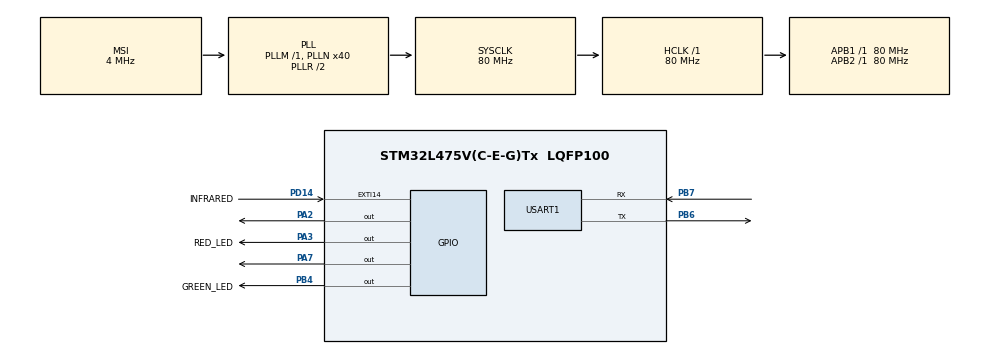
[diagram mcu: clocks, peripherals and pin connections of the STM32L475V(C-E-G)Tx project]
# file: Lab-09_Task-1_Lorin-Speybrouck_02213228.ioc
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Mcu.Family=STM32L4
Mcu.Name=STM32L475V(C-E-G)Tx
Mcu.Package=LQFP100
NVIC.EXTI15_10_IRQn=true\:0\:0\:false\:false\:true\:true\:true\:true
NVIC.PriorityGroup=NVIC_PRIORITYGROUP_4
PA2.GPIO_Speed=GPIO_SPEED_FREQ_HIGH
PA2.PinState=GPIO_PIN_SET
PA2.Signal=GPIO_Output
PA3.GPIO_Label=RED_LED
PA3.PinState=GPIO_PIN_SET
PA3.Signal=GPIO_Output
PA7.GPIO_Speed=GPIO_SPEED_FREQ_HIGH
PA7.Signal=GPIO_Output
PB4\ (NJTRST).GPIO_Label=GREEN_LED
PB4\ (NJTRST).Signal=GPIO_Output
PB6.Mode=Asynchronous
PB6.Signal=USART1_TX
PB7.Mode=Asynchronous
PB7.Signal=USART1_RX
PD14.GPIO_Label=INFRARED
PD14.GPIO_ModeDefaultEXTI=GPIO_MODE_IT_RISING_FALLING
PD14.Signal=GPXTI14
ProjectManager.HeapSize=0x200
ProjectManager.StackSize=0x400
ProjectManager.TargetToolchain=STM32CubeIDE
RCC.ADCFreq_Value=48000000
RCC.AHBFreq_Value=80000000
RCC.APB1Freq_Value=80000000
RCC.APB1TimFreq_Value=80000000
RCC.APB2Freq_Value=80000000
RCC.APB2TimFreq_Value=80000000
RCC.CortexFreq_Value=80000000
RCC.HCLKFreq_Value=80000000
RCC.HSE_VALUE=8000000
RCC.HSI_VALUE=16000000
RCC.LPTIM1CLockSelection=RCC_LPTIM1CLKSOURCE_LSE
RCC.LSE_VALUE=32768
RCC.MSI_VALUE=4000000
RCC.PLLN=40
RCC.PLLSAI1N=24
RCC.SYSCLKFreq_VALUE=80000000
RCC.SYSCLKSource=RCC_SYSCLKSOURCE_PLLCLK
RCC.USBFreq_Value=48000000
RCC.VCOOutputFreq_Value=160000000
TIM2.Period=100000
TIM2.Prescaler=80
USART1.VirtualMode-Asynchronous=VM_ASYNC
VP_TIM2_VS_ClockSourceINT.Mode=Internal
board=B-L475E-IOT01A2

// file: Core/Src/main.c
/* USER CODE BEGIN Header */
/**
 ******************************************************************************
 * @file           : main.c
 * @brief          : Main program body
 ******************************************************************************
 * @attention
 *
 * Copyright (c) 2024 STMicroelectronics.
 * All rights reserved.
 *
 * This software is licensed under terms that can be found in the LICENSE file
 * in the root directory of this software component.
 * If no LICENSE file comes with this software, it is provided AS-IS.
 *
 ******************************************************************************
 */
/* USER CODE END Header */
#include "main.h"

/* USER CODE BEGIN Includes */
#include "stdio.h"
#include "string.h"
/* USER CODE END Includes */

TIM_HandleTypeDef htim2;

UART_HandleTypeDef huart1;

/* USER CODE BEGIN PV */
int infrared_state;
uint32_t infrared_code;

const uint8_t digitToSegment[] = {
// XGFEDCBA
		0b00111111,// 0
		0b00000110,    // 1
		0b01011011,    // 2
		0b01001111,    // 3
		0b01100110,    // 4
		0b01101101,    // 5
		0b01111101,    // 6
		0b00000111,    // 7
		0b01111111,    // 8
		0b01101111,    // 9
		0b01110111,    // A
		0b01111100,    // b
		0b00111001,    // C
		0b01011110,    // d
		0b01111001,    // E
		0b01110001     // F
		};
/* USER CODE END PV */

void SystemClock_Config(void);
static void MX_GPIO_Init(void);
static void MX_USART1_UART_Init(void);
static void MX_TIM2_Init(void);

/* USER CODE BEGIN 0 */
void Display_CLK(uint8_t level) {
	HAL_GPIO_WritePin(GPIOA, GPIO_PIN_2, level);
	//HAL_Delay(1);
}

void Display_DIO(uint8_t level) {
	HAL_GPIO_WritePin(GPIOA, GPIO_PIN_7, level);
	//HAL_Delay(1);
}

void I2Cstart(void) {
	Display_DIO(1);
	Display_CLK(1); //I2C start condition
	Display_DIO(0); //high to low data while clk high
	Display_CLK(0);
}

void I2Cstop(void) {
	Display_DIO(0);
	Display_CLK(1); //I2C stop condition
	Display_DIO(1); //low to high data while clk high

}

void I2Cwritebyte(uint8_t databyte)  //LSB first for TM1637 chip!!!
{
	for (uint8_t n = 0; n <= 7; n++) {
		if ((databyte & 0x01) > 0)
			Display_DIO(1);
		else
			Display_DIO(0);
		Display_CLK(1);
		databyte >>= 1;
		Display_CLK(0);
	}
	Display_CLK(1); //9th clk  ACK ignored
	Display_CLK(0);
}

void I2Cwritesegment(uint8_t segmentnr, uint8_t hexdigit) {
	I2Cstart();
	I2Cwritebyte(0x40);  //command1 write data to display register
	I2Cstop();
	I2Cstart();
	I2Cwritebyte(0xc0 + (segmentnr & 0x03));  //command2  display address
	I2Cwritebyte(digitToSegment[hexdigit & 0x0F]);  //data1
	I2Cstop();

	I2Cstart();
	I2Cwritebyte(0x88);  //display control --> display on
	I2Cstop();
}

void I2CwriteDECnumber(unsigned int number) {
	for (int8_t digitnr = 3; digitnr >= 0; digitnr--) {
		I2Cwritesegment(digitnr, number % 10);
		number /= 10;
	}
}
/* USER CODE END 0 */

int main(void) {

	/* USER CODE BEGIN 1 */
	const uint32_t white_number_codes[10] =
			{ 0xff6897, 0xff30cf, 0xff18e7, 0xff7a85, 0xff10ef, 0xff38c7,
					0xff5aa5, 0xff42bd, 0xff4ab5, 0xff52ad };

	const uint32_t clear_code = 0xffb04f;
	const uint32_t add_code = 0xff02fd;
	const uint32_t subtract_code = 0xff9867;
	const uint32_t play_code = 0xffa857;
	/* USER CODE END 1 */

	/* MCU Configuration--------------------------------------------------------*/

	/* Reset of all peripherals, Initializes the Flash interface and the Systick. */
	HAL_Init();

	/* USER CODE BEGIN Init */
	infrared_state = 0;
	/* USER CODE END Init */

	/* Configure the system clock */
	SystemClock_Config();

	/* Initialize all configured peripherals */
	MX_GPIO_Init();
	MX_USART1_UART_Init();
	MX_TIM2_Init();
	/* USER CODE BEGIN 2 */
	HAL_TIM_Base_Start(&htim2);

	HAL_GPIO_WritePin(RED_LED_GPIO_Port, RED_LED_Pin, 0);
	HAL_GPIO_WritePin(GREEN_LED_GPIO_Port, GREEN_LED_Pin, 0);
	I2CwriteDECnumber(0);

	char text[20];
	sprintf(text, "Start \r\n");
	HAL_UART_Transmit(&huart1, (uint8_t*) text, strlen(text), 100);

	int number1 = 0; // first number or answer
	int number2 = 0;
	int calculation = 0; // 0=unset, 1=add, 2=subtract
	int calculated = 0;
	/* USER CODE END 2 */

	/* Infinite loop */
	while (1) {

		/* USER CODE BEGIN 3 */
		// -- Reset IR state machine --
		infrared_state = 0;
		// -- Wait for IR code --
		while (infrared_state < 5) {
		}
		sprintf(text, "Received code 0x%lx: ", infrared_code);
		HAL_UART_Transmit(&huart1, (uint8_t*) text, strlen(text), 100);

		// -- Check received code --
		if (infrared_code == clear_code) {
			number1 = 0;
			number2 = 0;
			calculation = 0;
			calculated = 0;
			I2CwriteDECnumber(number1);
			HAL_GPIO_WritePin(RED_LED_GPIO_Port, RED_LED_Pin, 0);
			HAL_GPIO_WritePin(GREEN_LED_GPIO_Port, GREEN_LED_Pin, 0);

			sprintf(text, "Cleared\r\n");
			HAL_UART_Transmit(&huart1, (uint8_t*) text, strlen(text), 100);
			continue;
		}
		if (infrared_code == play_code && calculation != 0) {
			if (calculation == 1) {
				number1 = number1 + number2;
			} else if (calculation == 2) {
				number1 = number1 - number2;
			}
			number2 = 0;
			calculation = 0;
			calculated = 1;
			I2CwriteDECnumber(number1);
			HAL_GPIO_WritePin(RED_LED_GPIO_Port, RED_LED_Pin, 0);
			HAL_GPIO_WritePin(GREEN_LED_GPIO_Port, GREEN_LED_Pin, 0);

			sprintf(text, "Played\r\n");
			HAL_UART_Transmit(&huart1, (uint8_t*) text, strlen(text), 100);
			continue;
		}
		if (infrared_code == add_code) {
			calculation = 1;
			HAL_GPIO_WritePin(RED_LED_GPIO_Port, RED_LED_Pin, 1);
			HAL_GPIO_WritePin(GREEN_LED_GPIO_Port, GREEN_LED_Pin, 0);

			sprintf(text, "Add\r\n");
			HAL_UART_Transmit(&huart1, (uint8_t*) text, strlen(text), 100);
			continue;
		}
		if (infrared_code == subtract_code) {
			calculation = 2;
			HAL_GPIO_WritePin(RED_LED_GPIO_Port, RED_LED_Pin, 0);
			HAL_GPIO_WritePin(GREEN_LED_GPIO_Port, GREEN_LED_Pin, 1);

			sprintf(text, "Subtract\r\n");
			HAL_UART_Transmit(&huart1, (uint8_t*) text, strlen(text), 100);
			continue;
		}
		for (int n = 0; n <= 9; n++) {
			if (infrared_code == white_number_codes[n]) {
				if (calculation == 0) {
					// If answer is stil shown, but no calculation has been set, reset answer
					if (calculated) {
						number1 = 0;
						calculated = 0;
					}
					number1 = number1 * 10 + n;
					I2CwriteDECnumber(number1);
				} else {
					number2 = number2 * 10 + n;
					I2CwriteDECnumber(number2);
				}
				sprintf(text, "Digit %d\r\n", n);
				HAL_UART_Transmit(&huart1, (uint8_t*) text, strlen(text), 100);
				break;
			}
		}
	}
	/* USER CODE END 3 */
}

void SystemClock_Config(void) {
	RCC_OscInitTypeDef RCC_OscInitStruct = { 0 };
	RCC_ClkInitTypeDef RCC_ClkInitStruct = { 0 };

	/** Configure the main internal regulator output voltage
	 */
	if (HAL_PWREx_ControlVoltageScaling(PWR_REGULATOR_VOLTAGE_SCALE1)
			!= HAL_OK) {
		Error_Handler();
	}

	/** Initializes the RCC Oscillators according to the specified parameters
	 * in the RCC_OscInitTypeDef structure.
	 */
	RCC_OscInitStruct.OscillatorType = RCC_OSCILLATORTYPE_MSI;
	RCC_OscInitStruct.MSIState = RCC_MSI_ON;
	RCC_OscInitStruct.MSICalibrationValue = 0;
	RCC_OscInitStruct.MSIClockRange = RCC_MSIRANGE_6;
	RCC_OscInitStruct.PLL.PLLState = RCC_PLL_ON;
	RCC_OscInitStruct.PLL.PLLSource = RCC_PLLSOURCE_MSI;
	RCC_OscInitStruct.PLL.PLLM = 1;
	RCC_OscInitStruct.PLL.PLLN = 40;
	RCC_OscInitStruct.PLL.PLLP = RCC_PLLP_DIV7;
	RCC_OscInitStruct.PLL.PLLQ = RCC_PLLQ_DIV2;
	RCC_OscInitStruct.PLL.PLLR = RCC_PLLR_DIV2;
	if (HAL_RCC_OscConfig(&RCC_OscInitStruct) != HAL_OK) {
		Error_Handler();
	}

	/** Initializes the CPU, AHB and APB buses clocks
	 */
	RCC_ClkInitStruct.ClockType = RCC_CLOCKTYPE_HCLK | RCC_CLOCKTYPE_SYSCLK
			| RCC_CLOCKTYPE_PCLK1 | RCC_CLOCKTYPE_PCLK2;
	RCC_ClkInitStruct.SYSCLKSource = RCC_SYSCLKSOURCE_PLLCLK;
	RCC_ClkInitStruct.AHBCLKDivider = RCC_SYSCLK_DIV1;
	RCC_ClkInitStruct.APB1CLKDivider = RCC_HCLK_DIV1;
	RCC_ClkInitStruct.APB2CLKDivider = RCC_HCLK_DIV1;

	if (HAL_RCC_ClockConfig(&RCC_ClkInitStruct, FLASH_LATENCY_4) != HAL_OK) {
		Error_Handler();
	}
}

static void MX_TIM2_Init(void) {

	TIM_ClockConfigTypeDef sClockSourceConfig = { 0 };
	TIM_MasterConfigTypeDef sMasterConfig = { 0 };

	htim2.Instance = TIM2;
	htim2.Init.Prescaler = 80;
	htim2.Init.CounterMode = TIM_COUNTERMODE_UP;
	htim2.Init.Period = 100000;
	htim2.Init.ClockDivision = TIM_CLOCKDIVISION_DIV1;
	htim2.Init.AutoReloadPreload = TIM_AUTORELOAD_PRELOAD_DISABLE;
	if (HAL_TIM_Base_Init(&htim2) != HAL_OK) {
		Error_Handler();
	}
	sClockSourceConfig.ClockSource = TIM_CLOCKSOURCE_INTERNAL;
	if (HAL_TIM_ConfigClockSource(&htim2, &sClockSourceConfig) != HAL_OK) {
		Error_Handler();
	}
	sMasterConfig.MasterOutputTrigger = TIM_TRGO_RESET;
	sMasterConfig.MasterSlaveMode = TIM_MASTERSLAVEMODE_DISABLE;
	if (HAL_TIMEx_MasterConfigSynchronization(&htim2, &sMasterConfig)
			!= HAL_OK) {
		Error_Handler();
	}

}

static void MX_USART1_UART_Init(void) {

	huart1.Instance = USART1;
	huart1.Init.BaudRate = 115200;
	huart1.Init.WordLength = UART_WORDLENGTH_8B;
	huart1.Init.StopBits = UART_STOPBITS_1;
	huart1.Init.Parity = UART_PARITY_NONE;
	huart1.Init.Mode = UART_MODE_TX_RX;
	huart1.Init.HwFlowCtl = UART_HWCONTROL_NONE;
	huart1.Init.OverSampling = UART_OVERSAMPLING_16;
	huart1.Init.OneBitSampling = UART_ONE_BIT_SAMPLE_DISABLE;
	huart1.AdvancedInit.AdvFeatureInit = UART_ADVFEATURE_NO_INIT;
	if (HAL_UART_Init(&huart1) != HAL_OK) {
		Error_Handler();
	}

}

static void MX_GPIO_Init(void) {
	GPIO_InitTypeDef GPIO_InitStruct = { 0 };

	/* GPIO Ports Clock Enable */
	__HAL_RCC_GPIOA_CLK_ENABLE();
	__HAL_RCC_GPIOD_CLK_ENABLE();
	__HAL_RCC_GPIOB_CLK_ENABLE();

	/*Configure GPIO pin Output Level */
	HAL_GPIO_WritePin(GPIOA, GPIO_PIN_2 | RED_LED_Pin, GPIO_PIN_SET);

	/*Configure GPIO pin Output Level */
	HAL_GPIO_WritePin(GPIOA, GPIO_PIN_7, GPIO_PIN_RESET);

	/*Configure GPIO pin Output Level */
	HAL_GPIO_WritePin(GREEN_LED_GPIO_Port, GREEN_LED_Pin, GPIO_PIN_RESET);

	/*Configure GPIO pins : PA2 PA7 */
	GPIO_InitStruct.Pin = GPIO_PIN_2 | GPIO_PIN_7;
	GPIO_InitStruct.Mode = GPIO_MODE_OUTPUT_PP;
	GPIO_InitStruct.Pull = GPIO_NOPULL;
	GPIO_InitStruct.Speed = GPIO_SPEED_FREQ_HIGH;
	HAL_GPIO_Init(GPIOA, &GPIO_InitStruct);

	/*Configure GPIO pin : RED_LED_Pin */
	GPIO_InitStruct.Pin = RED_LED_Pin;
	GPIO_InitStruct.Mode = GPIO_MODE_OUTPUT_PP;
	GPIO_InitStruct.Pull = GPIO_NOPULL;
	GPIO_InitStruct.Speed = GPIO_SPEED_FREQ_LOW;
	HAL_GPIO_Init(RED_LED_GPIO_Port, &GPIO_InitStruct);

	/*Configure GPIO pin : INFRARED_Pin */
	GPIO_InitStruct.Pin = INFRARED_Pin;
	GPIO_InitStruct.Mode = GPIO_MODE_IT_RISING_FALLING;
	GPIO_InitStruct.Pull = GPIO_NOPULL;
	HAL_GPIO_Init(INFRARED_GPIO_Port, &GPIO_InitStruct);

	/*Configure GPIO pin : GREEN_LED_Pin */
	GPIO_InitStruct.Pin = GREEN_LED_Pin;
	GPIO_InitStruct.Mode = GPIO_MODE_OUTPUT_PP;
	GPIO_InitStruct.Pull = GPIO_NOPULL;
	GPIO_InitStruct.Speed = GPIO_SPEED_FREQ_LOW;
	HAL_GPIO_Init(GREEN_LED_GPIO_Port, &GPIO_InitStruct);

	/* EXTI interrupt init*/
	HAL_NVIC_SetPriority(EXTI15_10_IRQn, 0, 0);
	HAL_NVIC_EnableIRQ(EXTI15_10_IRQn);

}

void Error_Handler(void) {
}
